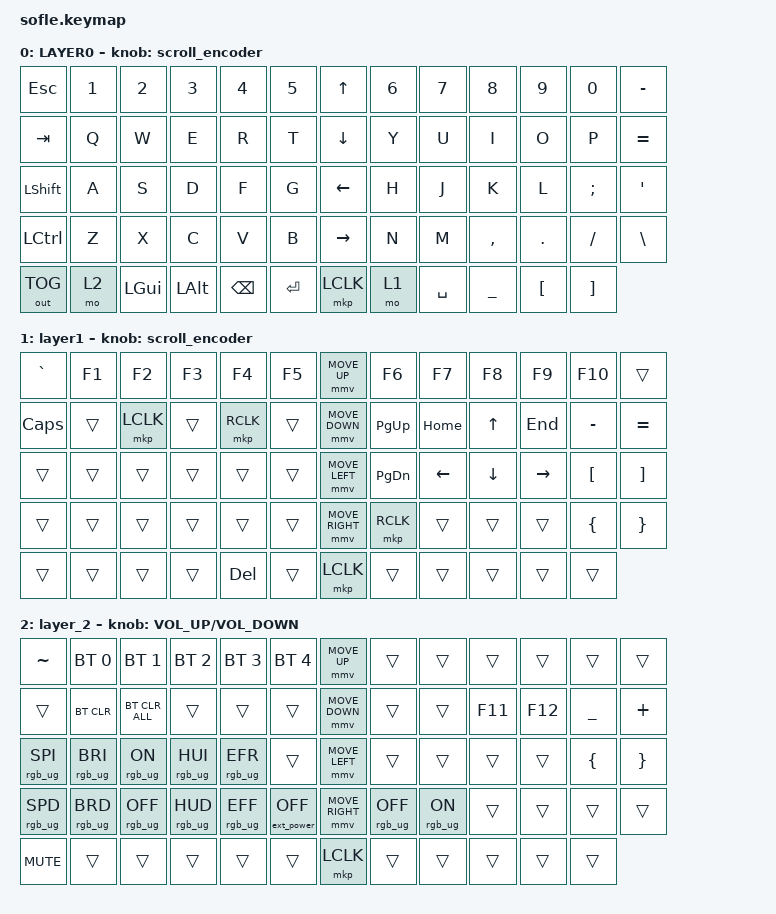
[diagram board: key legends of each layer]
#include <behaviors/mouse_keys.dtsi>
#include <behaviors.dtsi>
#include <dt-bindings/zmk/bt.h>
#include <dt-bindings/zmk/ext_power.h>
#include <dt-bindings/zmk/keys.h>
#include <dt-bindings/zmk/mouse.h>
#include <dt-bindings/zmk/outputs.h>
#include <dt-bindings/zmk/rgb.h>

#define ZMK_MOUSE_DEFAULT_MOVE_VAL 1200  // 600
#define ZMK_MOUSE_DEFAULT_SCRL_VAL 20    // 10
#define U_MS_U &mmv MOVE_UP
#define U_MS_D &mmv MOVE_DOWN
#define U_MS_L &mmv MOVE_LEFT
#define U_MS_R &mmv MOVE_RIGHT
#define ZMK_MOUSE_DEFAULT_MOVE_VAL 1200  //  600
#define ZMK_MOUSE_DEFAULT_SCRL_VAL 20    // 10

/ {
    behaviors {
        mmv {
            acceleration-exponent = <1>;      // 1
            time-to-max-speed-ms = <900>;    // 40
            delay-ms = <0>;                   // 0
        };

        msc {
            acceleration-exponent = <1>;      // 0
            time-to-max-speed-ms = <400>;      // 500
            delay-ms = <0>;                   //   10
        };
    };

    scroll_encoder: scroll_encoder {
        compatible = "zmk,behavior-sensor-rotate";
        #sensor-binding-cells = <0>;
        bindings = <&msc SCRL_DOWN>, <&msc SCRL_UP>;

        tap-ms = <30>;
    };

    keymap {
        compatible = "zmk,keymap";

        layer0 {
            bindings = <
&kp ESC         &kp N1  &kp N2        &kp N3        &kp N4         &kp N5       &kp UP_ARROW     &kp N6  &kp N7     &kp N8          &kp N9            &kp N0             &kp MINUS
&kp TAB         &kp Q   &kp W         &kp E         &kp R          &kp T        &kp DOWN_ARROW   &kp Y   &kp U      &kp I           &kp O             &kp P              &kp EQUAL
&kp LEFT_SHIFT  &kp A   &kp S         &kp D         &kp F          &kp G        &kp LEFT_ARROW   &kp H   &kp J      &kp K           &kp L             &kp SEMI           &kp APOS
&kp LCTRL       &kp Z   &kp X         &kp C         &kp V          &kp B        &kp RIGHT_ARROW  &kp N   &kp M      &kp COMMA       &kp DOT           &kp FSLH           &kp BACKSLASH
&out OUT_TOG    &mo 2   &kp LEFT_GUI  &kp LEFT_ALT  &kp BACKSPACE  &kp ENTER    &mkp LCLK        &mo 1   &kp SPACE  &kp UNDERSCORE  &kp LEFT_BRACKET  &kp RIGHT_BRACKET
            >;

            sensor-bindings = <&scroll_encoder>;
            display-name = "LAYER0";
        };

        layer_1 {
            bindings = <
&kp GRAVE     &kp F1  &kp F2     &kp F3  &kp F4      &kp F5    &mmv MOVE_UP     &kp F6     &kp F7    &kp F8    &kp F9     &kp F10           &trans
&kp CAPSLOCK  &trans  &mkp LCLK  &trans  &mkp RCLK   &trans    &mmv MOVE_DOWN   &kp PG_UP  &kp HOME  &kp UP    &kp END    &kp MINUS         &kp EQUAL
&trans        &trans  &trans     &trans  &trans      &trans    &mmv MOVE_LEFT   &kp PG_DN  &kp LEFT  &kp DOWN  &kp RIGHT  &kp LEFT_BRACKET  &kp RIGHT_BRACKET
&trans        &trans  &trans     &trans  &trans      &trans    &mmv MOVE_RIGHT  &mkp RCLK  &trans    &trans    &trans     &kp LEFT_BRACE    &kp RIGHT_BRACE
&trans        &trans  &trans     &trans  &kp DELETE  &trans    &mkp LCLK        &trans     &trans    &trans    &trans     &trans
            >;

            display-name = "layer1";
            sensor-bindings = <&scroll_encoder>;
        };

        layer_2 {
            bindings = <
&kp TILDE        &bt BT_SEL 0     &bt BT_SEL 1     &bt BT_SEL 2     &bt BT_SEL 3     &bt BT_SEL 4         &mmv MOVE_UP     &trans           &trans          &trans   &trans   &trans     &trans
&trans           &bt BT_CLR       &bt BT_CLR_ALL   &trans           &trans           &trans               &mmv MOVE_DOWN   &trans           &trans          &kp F11  &kp F12  &kp UNDER  &kp PLUS
&rgb_ug RGB_SPI  &rgb_ug RGB_BRI  &rgb_ug RGB_ON   &rgb_ug RGB_HUI  &rgb_ug RGB_EFR  &trans               &mmv MOVE_LEFT   &trans           &trans          &trans   &trans   &kp LBRC   &kp RBRC
&rgb_ug RGB_SPD  &rgb_ug RGB_BRD  &rgb_ug RGB_OFF  &rgb_ug RGB_HUD  &rgb_ug RGB_EFF  &ext_power EP_OFF    &mmv MOVE_RIGHT  &rgb_ug RGB_OFF  &rgb_ug RGB_ON  &trans   &trans   &trans     &trans
&kp K_MUTE       &trans           &trans           &trans           &trans           &trans               &mkp LCLK        &trans           &trans          &trans   &trans   &trans
            >;

            sensor-bindings = <&inc_dec_kp C_VOLUME_UP C_VOLUME_DOWN>;
        };
    };
};
